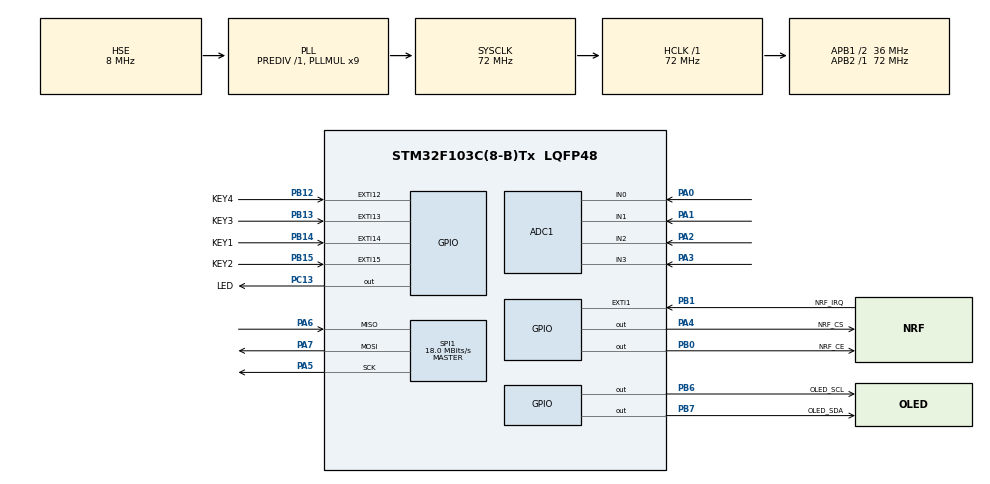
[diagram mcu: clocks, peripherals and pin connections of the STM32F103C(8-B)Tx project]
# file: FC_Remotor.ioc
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ADC1.Channel-5\#ChannelRegularConversion=ADC_CHANNEL_0
ADC1.Channel-6\#ChannelRegularConversion=ADC_CHANNEL_1
ADC1.Channel-7\#ChannelRegularConversion=ADC_CHANNEL_2
ADC1.Channel-8\#ChannelRegularConversion=ADC_CHANNEL_3
ADC1.ContinuousConvMode=ENABLE
ADC1.NbrOfConversion=4
ADC1.NbrOfConversionFlag=1
ADC1.Rank-5\#ChannelRegularConversion=1
ADC1.Rank-6\#ChannelRegularConversion=2
ADC1.Rank-7\#ChannelRegularConversion=3
ADC1.Rank-8\#ChannelRegularConversion=4
ADC1.SamplingTime-5\#ChannelRegularConversion=ADC_SAMPLETIME_1CYCLE_5
ADC1.SamplingTime-6\#ChannelRegularConversion=ADC_SAMPLETIME_1CYCLE_5
ADC1.SamplingTime-7\#ChannelRegularConversion=ADC_SAMPLETIME_1CYCLE_5
ADC1.SamplingTime-8\#ChannelRegularConversion=ADC_SAMPLETIME_1CYCLE_5
ADC1.master=1
Dma.ADC1.0.Direction=DMA_PERIPH_TO_MEMORY
Dma.ADC1.0.Instance=DMA1_Channel1
Dma.ADC1.0.MemDataAlignment=DMA_MDATAALIGN_HALFWORD
Dma.ADC1.0.MemInc=DMA_MINC_ENABLE
Dma.ADC1.0.Mode=DMA_CIRCULAR
Dma.ADC1.0.PeriphDataAlignment=DMA_PDATAALIGN_HALFWORD
Dma.ADC1.0.PeriphInc=DMA_PINC_DISABLE
Dma.ADC1.0.Priority=DMA_PRIORITY_HIGH
Dma.Request0=ADC1
Mcu.Family=STM32F1
Mcu.Name=STM32F103C(8-B)Tx
Mcu.Package=LQFP48
NVIC.DMA1_Channel1_IRQn=true\:0\:0\:false\:false\:true\:false\:true\:true
NVIC.EXTI15_10_IRQn=true\:5\:0\:true\:false\:true\:true\:true\:true
NVIC.EXTI1_IRQn=true\:4\:0\:true\:false\:true\:true\:true\:true
NVIC.PriorityGroup=NVIC_PRIORITYGROUP_4
PA0-WKUP.Signal=ADCx_IN0
PA1.Signal=ADCx_IN1
PA13.Mode=Serial_Wire
PA13.Signal=SYS_JTMS-SWDIO
PA14.Mode=Serial_Wire
PA14.Signal=SYS_JTCK-SWCLK
PA2.Signal=ADCx_IN2
PA3.Signal=ADCx_IN3
PA4.GPIO_Label=NRF_CS
PA4.GPIO_ModeDefaultOutputPP=GPIO_MODE_OUTPUT_PP
PA4.GPIO_PuPd=GPIO_PULLUP
PA4.GPIO_Speed=GPIO_SPEED_FREQ_HIGH
PA4.PinState=GPIO_PIN_SET
PA4.Signal=GPIO_Output
PA5.Mode=Full_Duplex_Master
PA5.Signal=SPI1_SCK
PA6.Mode=Full_Duplex_Master
PA6.Signal=SPI1_MISO
PA7.Mode=Full_Duplex_Master
PA7.Signal=SPI1_MOSI
PB0.GPIO_Label=NRF_CE
PB0.GPIO_ModeDefaultOutputPP=GPIO_MODE_OUTPUT_PP
PB0.GPIO_PuPd=GPIO_PULLUP
PB0.GPIO_Speed=GPIO_SPEED_FREQ_HIGH
PB0.PinState=GPIO_PIN_SET
PB0.Signal=GPIO_Output
PB1.GPIO_Label=NRF_IRQ
PB1.GPIO_ModeDefaultEXTI=GPIO_MODE_IT_FALLING
PB1.GPIO_PuPd=GPIO_PULLUP
PB1.Signal=GPXTI1
PB12.GPIO_Label=KEY4
PB12.GPIO_ModeDefaultEXTI=GPIO_MODE_IT_FALLING
PB12.GPIO_PuPd=GPIO_PULLUP
PB12.Signal=GPXTI12
PB13.GPIO_Label=KEY3
PB13.GPIO_ModeDefaultEXTI=GPIO_MODE_IT_FALLING
PB13.GPIO_PuPd=GPIO_PULLUP
PB13.Signal=GPXTI13
PB14.GPIO_Label=KEY1
PB14.GPIO_ModeDefaultEXTI=GPIO_MODE_IT_FALLING
PB14.GPIO_PuPd=GPIO_PULLUP
PB14.Signal=GPXTI14
PB15.GPIO_Label=KEY2
PB15.GPIO_ModeDefaultEXTI=GPIO_MODE_IT_FALLING
PB15.GPIO_PuPd=GPIO_PULLUP
PB15.Signal=GPXTI15
PB6.GPIO_Label=OLED_SCL
PB6.GPIO_ModeDefaultOutputPP=GPIO_MODE_OUTPUT_PP
PB6.GPIO_PuPd=GPIO_PULLUP
PB6.GPIO_Speed=GPIO_SPEED_FREQ_HIGH
PB6.PinState=GPIO_PIN_SET
PB6.Signal=GPIO_Output
PB7.GPIO_Label=OLED_SDA
PB7.GPIO_ModeDefaultOutputPP=GPIO_MODE_OUTPUT_PP
PB7.GPIO_PuPd=GPIO_PULLUP
PB7.GPIO_Speed=GPIO_SPEED_FREQ_HIGH
PB7.PinState=GPIO_PIN_SET
PB7.Signal=GPIO_Output
PC13-TAMPER-RTC.GPIO_Label=LED
PC13-TAMPER-RTC.GPIO_ModeDefaultOutputPP=GPIO_MODE_OUTPUT_PP
PC13-TAMPER-RTC.GPIO_PuPd=GPIO_PULLUP
PC13-TAMPER-RTC.GPIO_Speed=GPIO_SPEED_FREQ_HIGH
PC13-TAMPER-RTC.PinState=GPIO_PIN_SET
PC13-TAMPER-RTC.Signal=GPIO_Output
PD0-OSC_IN.Mode=HSE-External-Oscillator
PD0-OSC_IN.Signal=RCC_OSC_IN
PD1-OSC_OUT.Mode=HSE-External-Oscillator
PD1-OSC_OUT.Signal=RCC_OSC_OUT
ProjectManager.HeapSize=0x200
ProjectManager.StackSize=0x400
ProjectManager.TargetToolchain=CMake
RCC.ADCPresc=RCC_ADCPCLK2_DIV6
RCC.AHBFreq_Value=72000000
RCC.APB1CLKDivider=RCC_HCLK_DIV2
RCC.APB1Freq_Value=36000000
RCC.APB1TimFreq_Value=72000000
RCC.APB2Freq_Value=72000000
RCC.APB2TimFreq_Value=72000000
RCC.HCLKFreq_Value=72000000
RCC.PLLMUL=RCC_PLL_MUL9
RCC.PLLSourceVirtual=RCC_PLLSOURCE_HSE
RCC.SYSCLKFreq_VALUE=72000000
RCC.SYSCLKSource=RCC_SYSCLKSOURCE_PLLCLK
RCC.USBFreq_Value=72000000
SH.ADCx_IN0.0=ADC1_IN0,IN0
SH.ADCx_IN1.0=ADC1_IN1,IN1
SH.ADCx_IN2.0=ADC1_IN2,IN2
SH.ADCx_IN3.0=ADC1_IN3,IN3
SPI1.BaudRatePrescaler=SPI_BAUDRATEPRESCALER_4
SPI1.CalculateBaudRate=18.0 MBits/s
SPI1.Direction=SPI_DIRECTION_2LINES
SPI1.Mode=SPI_MODE_MASTER
SPI1.VirtualType=VM_MASTER
board=custom

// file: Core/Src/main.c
/* USER CODE BEGIN Header */
/**
 ******************************************************************************
 * @file           : main.c
 * @brief          : Main program body
 ******************************************************************************
 * @attention
 *
 * Copyright (c) 2025 STMicroelectronics.
 * All rights reserved.
 *
 * This software is licensed under terms that can be found in the LICENSE file
 * in the root directory of this software component.
 * If no LICENSE file comes with this software, it is provided AS-IS.
 *
 ******************************************************************************
 */
/* USER CODE END Header */
#include "main.h"
#include "adc.h"
#include "dma.h"
#include "spi.h"
#include "gpio.h"

/* USER CODE BEGIN Includes */
#include "joystick.h"
#include "key.h"
#include "nrf24l01_bsp.h"
#include "ui.h"
#include <string.h>

/* USER CODE END Includes */

/* USER CODE BEGIN PV */
JoystickData_t joystick;
UIData_t ui;
NRF24L01ObjectType nrf24;
/* USER CODE END PV */

void SystemClock_Config(void);

int main(void)
{

  /* USER CODE BEGIN 1 */
  uint8_t txData[32];
  /* USER CODE END 1 */

  /* MCU Configuration--------------------------------------------------------*/

  /* Reset of all peripherals, Initializes the Flash interface and the Systick. */
  HAL_Init();

  /* Configure the system clock */
  SystemClock_Config();

  /* Initialize all configured peripherals */
  MX_GPIO_Init();
  MX_DMA_Init();
  MX_ADC1_Init();
  MX_SPI1_Init();
  /* USER CODE BEGIN 2 */
  JoystickInit();
  UIInit(&ui, &joystick);
  NRF24L01Initialization(&nrf24, Nrf24ReadWriteByte, Nrf24ChipSelect,
                         Nrf24ChipEnable, NRF24LGetIRQ, NRF24LDelayms);
  /* USER CODE END 2 */

  /* Infinite loop */
  /* USER CODE BEGIN WHILE */
  while (1) {
    /*摇杆数据采集*/
    JoystickGetData(&joystick);
    // 传递数据给ui显示
    memcpy(ui.joyData, joystick.chData, 4 * sizeof(float));

    // 发送一包数据
    memcpy(txData, joystick.chData, 4 * sizeof(float));
    // 遥控模式下才发送数据
    if (ui.mode == REMOTEUI) {
      NRF24L01TransmitPacket(&nrf24, txData);
    }

    // ui显示控制
    task_UIShow(&ui, &joystick);

    // 运行指示灯
    HAL_GPIO_TogglePin(LED_GPIO_Port, LED_Pin);
    /* USER CODE END WHILE */

  }
}

void SystemClock_Config(void)
{
  RCC_OscInitTypeDef RCC_OscInitStruct = {0};
  RCC_ClkInitTypeDef RCC_ClkInitStruct = {0};
  RCC_PeriphCLKInitTypeDef PeriphClkInit = {0};

  /** Initializes the RCC Oscillators according to the specified parameters
  * in the RCC_OscInitTypeDef structure.
  */
  RCC_OscInitStruct.OscillatorType = RCC_OSCILLATORTYPE_HSE;
  RCC_OscInitStruct.HSEState = RCC_HSE_ON;
  RCC_OscInitStruct.HSEPredivValue = RCC_HSE_PREDIV_DIV1;
  RCC_OscInitStruct.HSIState = RCC_HSI_ON;
  RCC_OscInitStruct.PLL.PLLState = RCC_PLL_ON;
  RCC_OscInitStruct.PLL.PLLSource = RCC_PLLSOURCE_HSE;
  RCC_OscInitStruct.PLL.PLLMUL = RCC_PLL_MUL9;
  if (HAL_RCC_OscConfig(&RCC_OscInitStruct) != HAL_OK)
  {
    Error_Handler();
  }

  /** Initializes the CPU, AHB and APB buses clocks
  */
  RCC_ClkInitStruct.ClockType = RCC_CLOCKTYPE_HCLK|RCC_CLOCKTYPE_SYSCLK
                              |RCC_CLOCKTYPE_PCLK1|RCC_CLOCKTYPE_PCLK2;
  RCC_ClkInitStruct.SYSCLKSource = RCC_SYSCLKSOURCE_PLLCLK;
  RCC_ClkInitStruct.AHBCLKDivider = RCC_SYSCLK_DIV1;
  RCC_ClkInitStruct.APB1CLKDivider = RCC_HCLK_DIV2;
  RCC_ClkInitStruct.APB2CLKDivider = RCC_HCLK_DIV1;

  if (HAL_RCC_ClockConfig(&RCC_ClkInitStruct, FLASH_LATENCY_2) != HAL_OK)
  {
    Error_Handler();
  }
  PeriphClkInit.PeriphClockSelection = RCC_PERIPHCLK_ADC;
  PeriphClkInit.AdcClockSelection = RCC_ADCPCLK2_DIV6;
  if (HAL_RCCEx_PeriphCLKConfig(&PeriphClkInit) != HAL_OK)
  {
    Error_Handler();
  }
}

/* USER CODE BEGIN 4 */
// gpio中断回调函数
void HAL_GPIO_EXTI_Callback(uint16_t GPIO_Pin) {
  switch (GPIO_Pin) {
  case KEY1_Pin:
    break;
  case KEY2_Pin:
    break;
  case KEY3_Pin:
    ui.mode++;
    if (ui.mode > REMOTEUI) {
      ui.mode = RAWUI;
    }
    ui.isUpdateStatic = 1;
    break;
  case KEY4_Pin:
    break;
  }
}
/* USER CODE END 4 */

void Error_Handler(void)
{
  __disable_irq();
  while (1) {
  }
}

#ifdef  USE_FULL_ASSERT
/**
  * @brief  Reports the name of the source file and the source line number
  *         where the assert_param error has occurred.
  * @param  file: pointer to the source file name
  * @param  line: assert_param error line source number
  * @retval None
  */
void assert_failed(uint8_t *file, uint32_t line)
{
  /* USER CODE BEGIN 6 */
  /* User can add his own implementation to report the file name and line
     number, ex: printf("Wrong parameters value: file %s on line %d\r\n", file,
     line) */
  /* USER CODE END 6 */
}
#endif /* USE_FULL_ASSERT */
